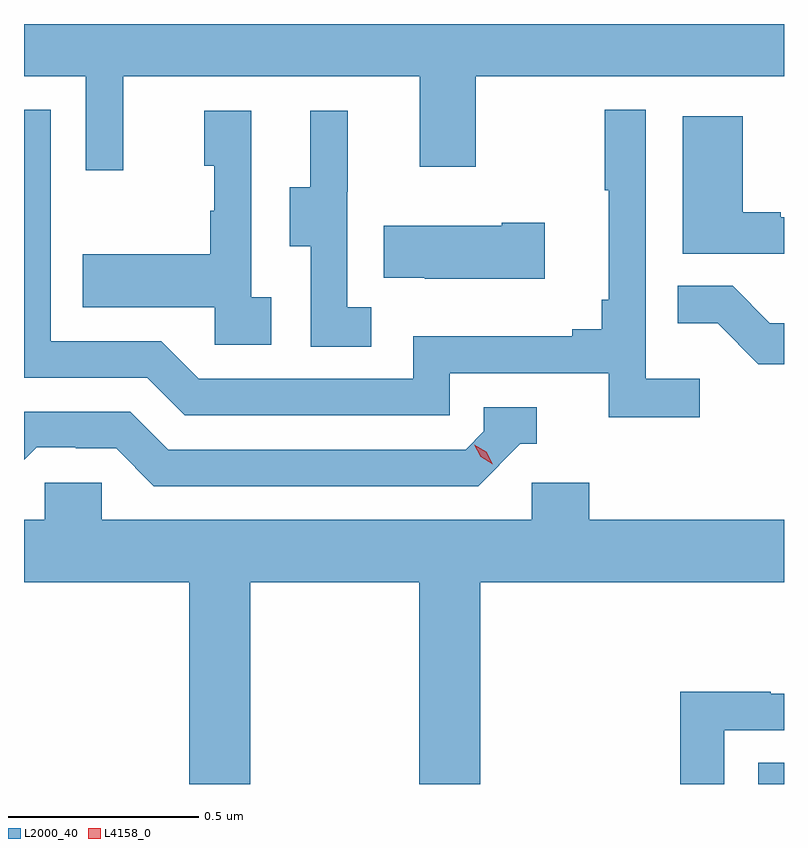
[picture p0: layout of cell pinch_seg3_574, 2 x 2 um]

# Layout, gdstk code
import gdstk
lib = gdstk.Library(unit=1e-6, precision=1e-09)
def R(c, l, rs):  # rectangles x0, y0, x1, y1
    for r in rs: c.add(gdstk.rectangle(r[:2], r[2:], *l))
def P(c, l, *ps):  # polygons
    for p in ps: c.add(gdstk.Polygon(p, *l))
L2000_40 = (2000, 40)
L4158_0 = (4158, 0)

pinch_seg3_574 = lib.new_cell('pinch_seg3_574')
R(pinch_seg3_574, L2000_40, [(1090.394,687.065,1090.462,687.121)])
P(pinch_seg3_574, L2000_40, [(1088.723,688.928),(1089.503,688.928),(1089.503,688.689),(1089.651,688.689),(1089.651,688.928),(1090.462,688.928),(1090.462,689.065),(1088.462,689.065),(1088.462,688.928),(1088.625,688.928),(1088.625,688.68),(1088.723,688.68)],
  [(1090.24,688.132),(1090.098,688.132),(1090.098,688.84),(1089.99,688.84),(1089.99,688.627),(1090.001,688.627),(1090.001,688.339),(1089.982,688.339),(1089.982,688.262),(1089.905,688.262),(1089.905,688.243),(1089.486,688.243),(1089.486,688.131),(1088.922,688.131),(1088.823,688.23),(1088.532,688.23),(1088.532,688.839),(1088.462,688.839),(1088.462,688.134),(1088.786,688.134),(1088.885,688.035),(1089.582,688.035),(1089.582,688.146),(1090.001,688.146),(1090.001,688.03),(1090.24,688.03)],
  [(1089.112,688.346),(1089.06,688.346),(1089.06,688.837),(1088.936,688.837),(1088.936,688.692),(1088.962,688.692),(1088.962,688.574),(1088.952,688.574),(1088.952,688.459),(1088.617,688.459),(1088.617,688.319),(1088.964,688.319),(1088.964,688.221),(1089.112,688.221)],
  [(1089.376,688.319),(1089.312,688.319),(1089.312,688.623),(1089.314,688.623),(1089.314,688.837),(1089.215,688.837),(1089.215,688.635),(1089.161,688.635),(1089.161,688.48),(1089.216,688.48),(1089.216,688.216),(1089.376,688.216)],
  [(1090.462,688.557),(1090.454,688.557),(1090.454,688.57),(1090.354,688.57),(1090.354,688.822),(1090.196,688.822),(1090.196,688.461),(1090.462,688.461)],
  [(1089.832,688.542),(1089.719,688.542),(1089.719,688.534),(1089.409,688.534),(1089.409,688.397),(1089.517,688.397),(1089.517,688.394),(1089.832,688.394)],
  [(1090.462,688.278),(1090.425,688.278),(1090.327,688.376),(1090.183,688.376),(1090.183,688.277),(1090.287,688.277),(1090.394,688.17),(1090.462,688.17)],
  [(1089.768,687.96),(1089.811,687.96),(1089.811,688.056),(1089.672,688.056),(1089.672,687.993),(1089.624,687.945),(1088.841,687.945),(1088.742,688.044),(1088.462,688.044),(1088.462,687.918),(1088.495,687.951),(1088.598,687.951),(1088.598,687.948),(1088.705,687.948),(1088.804,687.849),(1089.657,687.849)],
  [(1090.462,687.76),(1089.95,687.76),(1089.95,687.858),(1089.798,687.858),(1089.798,687.76),(1088.667,687.76),(1088.667,687.858),(1088.517,687.858),(1088.517,687.76),(1088.462,687.76),(1088.462,687.596),(1088.897,687.596),(1088.897,687.065),(1089.057,687.065),(1089.057,687.596),(1089.502,687.596),(1089.502,687.065),(1089.662,687.065),(1089.662,687.596),(1090.462,687.596)],
  [(1090.305,687.207),(1090.462,687.207),(1090.462,687.303),(1090.427,687.303),(1090.427,687.308),(1090.189,687.308),(1090.189,687.065),(1090.305,687.065)])
P(pinch_seg3_574, L4158_0, [(1089.695,687.907),(1089.664,687.926),(1089.647,687.958),(1089.647,687.958),(1089.647,687.958),(1089.678,687.939),(1089.695,687.907),(1089.695,687.907)])

lib.write_gds('pinch_seg3_574.gds')
